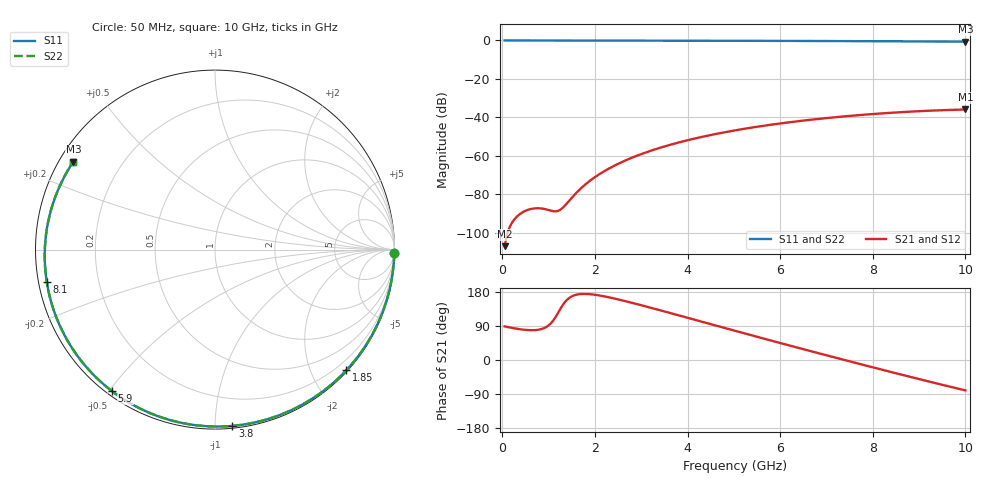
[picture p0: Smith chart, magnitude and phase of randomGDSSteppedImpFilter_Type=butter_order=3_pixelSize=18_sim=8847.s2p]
! freq	dB(S11)	phase(S11)	dB(S12)	phase(S12)
!  dB(S21)	phase(S21)	dB(S22)	phase(S22)
!S-par simulation data
#  GHz  S  DB  R 50
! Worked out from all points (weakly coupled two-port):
!   200 points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, 50 MHz to 10 GHz, reference 50 ohm
!   highest |S21| = -35.87 dB at 10 GHz (marker M1); lowest = -106.9 dB at 50 MHz (marker M2)
!   lowest |S11| = -0.6 dB at 10 GHz (marker M3), VSWR 27.17, Z = 1.99 + j14.2 ohm
!   |S11| at or under -10 dB: nowhere
!   |S22| runs from -0.6 to 0.0 dB; largest |S21 - S12| = 0
!   S11 on the Smith chart (normalised r, x): 50 MHz: open; 1.85 GHz: 0.02, -2.57; 3.8 GHz: 0.01, -1.10; 5.9 GHz: 0.02, -0.51; 8.1 GHz: 0.02, -0.09; 10 GHz: 0.04, +0.28
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0.05  -0.00 -1.1  -106.90 88.7  -106.90 88.7  -0.00 -1.1
0.45  -0.02 -10.5  -89.12 80.1  -89.12 80.1  -0.02 -10.5
0.8  -0.02 -18.7  -87.22 80.3  -87.22 80.3  -0.02 -18.7
1.55  -0.05 -35.8  -80.41 170.5  -80.41 170.5  -0.05 -35.8
1.75  -0.05 -40.4  -75.71 174.4  -75.71 174.4  -0.05 -40.4
1.85  -0.05 -42.6  -73.71 174.1  -73.71 174.1  -0.05 -42.6
2.15  -0.06 -49.3  -68.69 169.2  -68.69 169.2  -0.06 -49.3
2.5  -0.07 -56.9  -64.13 160.0  -64.13 160.0  -0.07 -56.9
2.9  -0.09 -65.6  -59.97 147.8  -59.97 147.8  -0.09 -65.6
3.4  -0.10 -76.1  -55.82 131.5  -55.82 131.5  -0.10 -76.1
3.8  -0.11 -84.4  -53.08 118.2  -53.08 118.2  -0.11 -84.4
4.4  -0.14 -96.6  -49.65 98.0  -49.65 98.0  -0.14 -96.6
5.05  -0.17 -109.4  -46.62 76.3  -46.62 76.3  -0.17 -109.4
5.9  -0.22 -125.9  -43.46 48.1  -43.46 48.1  -0.22 -126.0
6.7  -0.27 -141.4  -41.10 22.0  -41.10 22.0  -0.27 -141.4
7.4  -0.33 -155.1  -39.43 -0.4  -39.43 -0.4  -0.33 -155.1
8.1  -0.40 -169.2  -38.06 -22.5  -38.06 -22.5  -0.40 -169.3
8.35  -0.43 -174.4  -37.65 -30.3  -37.65 -30.3  -0.43 -174.4
8.8  -0.48 176.0  -37.00 -44.3  -37.00 -44.3  -0.48 176.0
9.2  -0.53 167.1  -36.53 -56.5  -36.53 -56.5  -0.53 167.1
9.6  -0.59 157.8  -36.15 -68.5  -36.15 -68.5  -0.59 157.8
10  -0.64 148.2  -35.87 -80.2  -35.87 -80.2  -0.64 148.1
